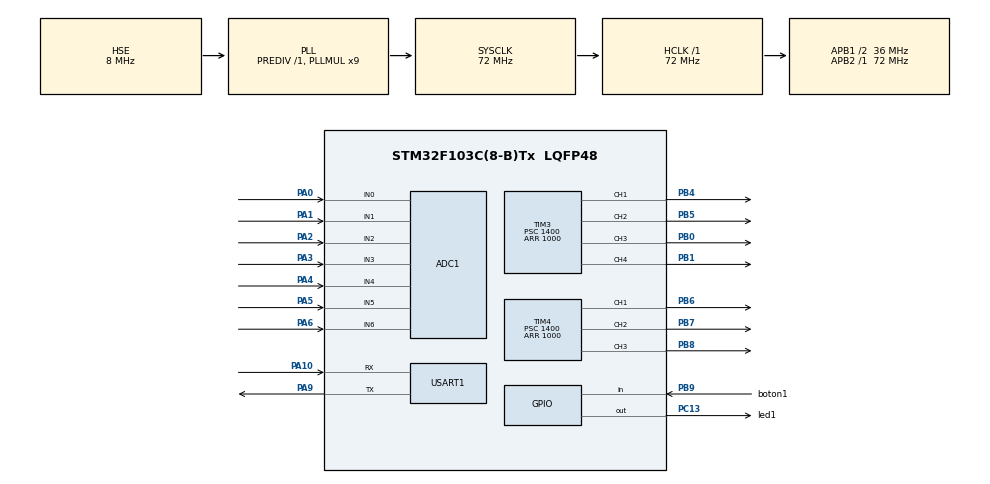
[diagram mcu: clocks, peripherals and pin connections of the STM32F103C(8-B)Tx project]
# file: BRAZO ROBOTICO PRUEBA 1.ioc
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ADC1.Channel-0\#ChannelRegularConversion=ADC_CHANNEL_0
ADC1.Channel-1\#ChannelRegularConversion=ADC_CHANNEL_1
ADC1.Channel-2\#ChannelRegularConversion=ADC_CHANNEL_2
ADC1.Channel-3\#ChannelRegularConversion=ADC_CHANNEL_3
ADC1.Channel-4\#ChannelRegularConversion=ADC_CHANNEL_4
ADC1.Channel-5\#ChannelRegularConversion=ADC_CHANNEL_5
ADC1.Channel-6\#ChannelRegularConversion=ADC_CHANNEL_6
ADC1.ContinuousConvMode=ENABLE
ADC1.NbrOfConversion=7
ADC1.NbrOfConversionFlag=1
ADC1.Rank-0\#ChannelRegularConversion=1
ADC1.Rank-1\#ChannelRegularConversion=2
ADC1.Rank-2\#ChannelRegularConversion=3
ADC1.Rank-3\#ChannelRegularConversion=4
ADC1.Rank-4\#ChannelRegularConversion=5
ADC1.Rank-5\#ChannelRegularConversion=6
ADC1.Rank-6\#ChannelRegularConversion=7
ADC1.SamplingTime-0\#ChannelRegularConversion=ADC_SAMPLETIME_1CYCLE_5
ADC1.SamplingTime-1\#ChannelRegularConversion=ADC_SAMPLETIME_1CYCLE_5
ADC1.SamplingTime-2\#ChannelRegularConversion=ADC_SAMPLETIME_1CYCLE_5
ADC1.SamplingTime-3\#ChannelRegularConversion=ADC_SAMPLETIME_1CYCLE_5
ADC1.SamplingTime-4\#ChannelRegularConversion=ADC_SAMPLETIME_1CYCLE_5
ADC1.SamplingTime-5\#ChannelRegularConversion=ADC_SAMPLETIME_1CYCLE_5
ADC1.SamplingTime-6\#ChannelRegularConversion=ADC_SAMPLETIME_1CYCLE_5
ADC1.master=1
Dma.ADC1.0.Direction=DMA_PERIPH_TO_MEMORY
Dma.ADC1.0.Instance=DMA1_Channel1
Dma.ADC1.0.MemDataAlignment=DMA_MDATAALIGN_HALFWORD
Dma.ADC1.0.MemInc=DMA_MINC_ENABLE
Dma.ADC1.0.Mode=DMA_CIRCULAR
Dma.ADC1.0.PeriphDataAlignment=DMA_PDATAALIGN_HALFWORD
Dma.ADC1.0.PeriphInc=DMA_PINC_DISABLE
Dma.ADC1.0.Priority=DMA_PRIORITY_LOW
Dma.Request0=ADC1
Mcu.Family=STM32F1
Mcu.Name=STM32F103C(8-B)Tx
Mcu.Package=LQFP48
NVIC.DMA1_Channel1_IRQn=true\:0\:0\:false\:false\:true\:false\:true
NVIC.PriorityGroup=NVIC_PRIORITYGROUP_4
PA0-WKUP.Signal=ADCx_IN0
PA1.Signal=ADCx_IN1
PA10.Mode=Asynchronous
PA10.Signal=USART1_RX
PA13.Mode=Serial_Wire
PA13.Signal=SYS_JTMS-SWDIO
PA14.Mode=Serial_Wire
PA14.Signal=SYS_JTCK-SWCLK
PA2.Signal=ADCx_IN2
PA3.Signal=ADCx_IN3
PA4.Signal=ADCx_IN4
PA5.Signal=ADCx_IN5
PA6.Signal=ADCx_IN6
PA9.Mode=Asynchronous
PA9.Signal=USART1_TX
PB0.Signal=S_TIM3_CH3
PB1.Signal=S_TIM3_CH4
PB4.Signal=S_TIM3_CH1
PB5.Signal=S_TIM3_CH2
PB6.Signal=S_TIM4_CH1
PB7.Signal=S_TIM4_CH2
PB8.Signal=S_TIM4_CH3
PB9.GPIO_Label=boton1
PB9.GPIO_Mode=GPIO_MODE_INPUT
PB9.GPIO_PuPd=GPIO_PULLUP
PB9.Signal=GPIO_Input
PC13-TAMPER-RTC.GPIO_Label=led1
PC13-TAMPER-RTC.Signal=GPIO_Output
PD0-OSC_IN.Mode=HSE-External-Oscillator
PD0-OSC_IN.Signal=RCC_OSC_IN
PD1-OSC_OUT.Mode=HSE-External-Oscillator
PD1-OSC_OUT.Signal=RCC_OSC_OUT
ProjectManager.HeapSize=0x200
ProjectManager.StackSize=0x400
ProjectManager.TargetToolchain=STM32CubeIDE
RCC.ADCPresc=RCC_ADCPCLK2_DIV6
RCC.AHBFreq_Value=72000000
RCC.APB1CLKDivider=RCC_HCLK_DIV2
RCC.APB1Freq_Value=36000000
RCC.APB1TimFreq_Value=72000000
RCC.APB2Freq_Value=72000000
RCC.APB2TimFreq_Value=72000000
RCC.HCLKFreq_Value=72000000
RCC.PLLMUL=RCC_PLL_MUL9
RCC.PLLSourceVirtual=RCC_PLLSOURCE_HSE
RCC.SYSCLKFreq_VALUE=72000000
RCC.SYSCLKSource=RCC_SYSCLKSOURCE_PLLCLK
RCC.USBFreq_Value=72000000
SH.ADCx_IN0.0=ADC1_IN0,IN0
SH.ADCx_IN1.0=ADC1_IN1,IN1
SH.ADCx_IN2.0=ADC1_IN2,IN2
SH.ADCx_IN3.0=ADC1_IN3,IN3
SH.ADCx_IN4.0=ADC1_IN4,IN4
SH.ADCx_IN5.0=ADC1_IN5,IN5
SH.ADCx_IN6.0=ADC1_IN6,IN6
SH.S_TIM3_CH1.0=TIM3_CH1,PWM Generation1 CH1
SH.S_TIM3_CH2.0=TIM3_CH2,PWM Generation2 CH2
SH.S_TIM3_CH3.0=TIM3_CH3,PWM Generation3 CH3
SH.S_TIM3_CH4.0=TIM3_CH4,PWM Generation4 CH4
SH.S_TIM4_CH1.0=TIM4_CH1,PWM Generation1 CH1
SH.S_TIM4_CH2.0=TIM4_CH2,PWM Generation2 CH2
SH.S_TIM4_CH3.0=TIM4_CH3,PWM Generation3 CH3
TIM3.Channel-PWM\ Generation1\ CH1=TIM_CHANNEL_1
TIM3.Channel-PWM\ Generation2\ CH2=TIM_CHANNEL_2
TIM3.Channel-PWM\ Generation3\ CH3=TIM_CHANNEL_3
TIM3.Channel-PWM\ Generation4\ CH4=TIM_CHANNEL_4
TIM3.Period=1000
TIM3.Prescaler=1400
TIM4.Channel-PWM\ Generation1\ CH1=TIM_CHANNEL_1
TIM4.Channel-PWM\ Generation2\ CH2=TIM_CHANNEL_2
TIM4.Channel-PWM\ Generation3\ CH3=TIM_CHANNEL_3
TIM4.Period=1000
TIM4.Prescaler=1400
USART1.VirtualMode=VM_ASYNC
VP_TIM3_VS_ClockSourceINT.Mode=Internal
VP_TIM4_VS_ClockSourceINT.Mode=Internal
board=custom

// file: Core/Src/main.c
/* USER CODE BEGIN Header */
/**
  ******************************************************************************
  * @file           : main.c
  * @brief          : Main program body
  ******************************************************************************
  * @attention
  *
  * <h2><center>&copy; Copyright (c) 2020 STMicroelectronics.
  * All rights reserved.</center></h2>
  *
  * This software component is licensed by ST under BSD 3-Clause license,
  * the "License"; You may not use this file except in compliance with the
  * License. You may obtain a copy of the License at:
  *                        opensource.org/licenses/BSD-3-Clause
  *
  ******************************************************************************
  */
/* USER CODE END Header */

#include "main.h"

/* USER CODE BEGIN Includes */
#include "stdio.h"
/* USER CODE END Includes */

ADC_HandleTypeDef hadc1;
DMA_HandleTypeDef hdma_adc1;

TIM_HandleTypeDef htim3;
TIM_HandleTypeDef htim4;

UART_HandleTypeDef huart1;

/* USER CODE BEGIN PV */
uint16_t adcSamples[7];
char adc1Buffer[20];
char adc2Buffer[20];
char adc3Buffer[20];
char adc4Buffer[20];
char adc5Buffer[20];
char adc6Buffer[20];
char adc7Buffer[20];
uint8_t stringSize[7];

uint8_t i=0;
uint16_t servos[7];
uint16_t tiempo=25;
uint16_t contServos=0;
uint8_t estado;
uint8_t contGrabar=0;

/* USER CODE END PV */

void SystemClock_Config(void);
static void MX_GPIO_Init(void);
static void MX_DMA_Init(void);
static void MX_ADC1_Init(void);
static void MX_USART1_UART_Init(void);
static void MX_TIM3_Init(void);
static void MX_TIM4_Init(void);
/* USER CODE BEGIN PFP */
//////////////////////// Function map/////////////////////////////////////////////////////////////
double map(float valor, float entradaMin, float entradaMax, float salidaMin, float salidaMax){
	   return ((((valor-entradaMin)*(salidaMax-salidaMin))/(entradaMax-entradaMin))+salidaMin);}
//////////////////// Function to move the SERVO1_BASE a desired position ////////////////////////////////
void control_base(uint8_t ang1, uint8_t ang2, uint8_t vel){
	 if(ang2 >= ang1){
	    for(uint8_t angulo = ang1; angulo < ang2; angulo++){
        __HAL_TIM_SET_COMPARE(&htim3,TIM_CHANNEL_1,angulo);
        HAL_Delay(vel);}}
	 else{
		for(uint8_t angulo = ang1; angulo > ang2; angulo--){
		__HAL_TIM_SET_COMPARE(&htim3,TIM_CHANNEL_1,angulo);
		HAL_Delay(vel);}}}
//////////////////// Function to move the SERVO1_WRIST a desired position ////////////////////////////////
void control_wrist(uint8_t ang1, uint8_t ang2, uint8_t vel){
	 if(ang2 >= ang1){
	    for(uint8_t angulo = ang1; angulo < ang2; angulo++){
        __HAL_TIM_SET_COMPARE(&htim4,TIM_CHANNEL_2,angulo);
        HAL_Delay(vel);}}
	 else{
		for(uint8_t angulo = ang1; angulo > ang2; angulo--){
		__HAL_TIM_SET_COMPARE(&htim4,TIM_CHANNEL_2,angulo);
		HAL_Delay(vel);}}}
//////////////////// Function to move the SERVO7_GRIPPER a desired position ////////////////////////////////
void control_gripper(uint8_t ang1, uint8_t ang2, uint8_t vel){
	 if(ang2 >= ang1){
	    for(uint8_t angulo = ang1; angulo < ang2; angulo++){
        __HAL_TIM_SET_COMPARE(&htim4,TIM_CHANNEL_3,angulo);
        HAL_Delay(vel);}}
	 else{
		for(uint8_t angulo = ang1; angulo > ang2; angulo--){
		__HAL_TIM_SET_COMPARE(&htim4,TIM_CHANNEL_3,angulo);
		HAL_Delay(vel);}}}
///////////////////FUNCION PARA MOVER LOS SERVOS/////////////////////////////////////////////
void todosServos(uint8_t ang1,uint8_t ang2, uint8_t ang3, uint8_t ang4,
		         uint8_t ang5,uint8_t ang6, uint8_t ang7, uint8_t tiempo){

	__HAL_TIM_SET_COMPARE(&htim3,TIM_CHANNEL_1,ang1);
	HAL_Delay(tiempo);
	__HAL_TIM_SET_COMPARE(&htim3,TIM_CHANNEL_2,ang2);
    HAL_Delay(tiempo);
    __HAL_TIM_SET_COMPARE(&htim3,TIM_CHANNEL_3,ang3);
    HAL_Delay(tiempo);
    __HAL_TIM_SET_COMPARE(&htim3,TIM_CHANNEL_4,ang4);
    HAL_Delay(tiempo);
    __HAL_TIM_SET_COMPARE(&htim4,TIM_CHANNEL_1,ang5);
    HAL_Delay(tiempo);
    __HAL_TIM_SET_COMPARE(&htim4,TIM_CHANNEL_2,ang6);
    HAL_Delay(tiempo);
    __HAL_TIM_SET_COMPARE(&htim4,TIM_CHANNEL_3,ang7);
    HAL_Delay(tiempo);}

//todosServos(56,85,77,79,81,82,58,tiempo);
//todosServos(66,95,87,89,91,92,68,tiempo);

/* USER CODE END PFP */

int main(void)
{

  /* MCU Configuration--------------------------------------------------------*/

  /* Reset of all peripherals, Initializes the Flash interface and the Systick. */
  HAL_Init();

  /* Configure the system clock */
  SystemClock_Config();

  /* Initialize all configured peripherals */
  MX_GPIO_Init();
  MX_DMA_Init();
  MX_ADC1_Init();
  MX_USART1_UART_Init();
  MX_TIM3_Init();
  MX_TIM4_Init();
  /* USER CODE BEGIN 2 */
  HAL_ADC_Start_DMA(&hadc1, (uint32_t *)adcSamples, 7);
  HAL_TIM_PWM_Start(&htim3, TIM_CHANNEL_1);//PB4 - base
  HAL_TIM_PWM_Start(&htim3, TIM_CHANNEL_2);//PB5 -
  HAL_TIM_PWM_Start(&htim3, TIM_CHANNEL_3);//PB0 -
  HAL_TIM_PWM_Start(&htim3, TIM_CHANNEL_4);//PB1 -

  HAL_TIM_PWM_Start(&htim4, TIM_CHANNEL_1);//PB6 -
  HAL_TIM_PWM_Start(&htim4, TIM_CHANNEL_2);//PB7 - wrist
  HAL_TIM_PWM_Start(&htim4, TIM_CHANNEL_3);//PB8 - gripper

  /* USER CODE END 2 */

  /* Infinite loop */
  /* USER CODE BEGIN WHILE */

  //Initial position
  /*
  __HAL_TIM_SET_COMPARE(&htim3,TIM_CHANNEL_1,58);//base
  __HAL_TIM_SET_COMPARE(&htim3,TIM_CHANNEL_2,84);
  __HAL_TIM_SET_COMPARE(&htim3,TIM_CHANNEL_3,76);
  __HAL_TIM_SET_COMPARE(&htim3,TIM_CHANNEL_4,78);
  __HAL_TIM_SET_COMPARE(&htim4,TIM_CHANNEL_1,80);
  __HAL_TIM_SET_COMPARE(&htim4,TIM_CHANNEL_2,91);//wrist
  __HAL_TIM_SET_COMPARE(&htim4,TIM_CHANNEL_3,50);//gripper

  HAL_Delay(2000);

  control_base(58, 88, 20);
  HAL_Delay(400);
  control_wrist(91, 115, 10);
  HAL_Delay(400);
  control_gripper(50, 83, 15);
  HAL_Delay(400);
  control_gripper(83, 50, 15);
  HAL_Delay(400);
  control_wrist(115, 44, 10);
  HAL_Delay(400);
  control_wrist(44, 91, 10);*/

  /////////////////////////////////////////////////

  //while(1);

  while (1)
  {

	  servos[0] = map(adcSamples[0], 0, 4095, 44, 115);                        //mapeo la lectura del pot1
	  __HAL_TIM_SET_COMPARE(&htim3,TIM_CHANNEL_1,servos[0]); 				    //escribo los grados del servo 0-180
	  stringSize[0] = sprintf(adc1Buffer,"todosServos(%u,",servos[0]);			//convierto a cadena para mandar al UART

	  servos[1] = map(adcSamples[1], 0, 4095, 115, 44);                        //mapeo la lectura del pot1
	  __HAL_TIM_SET_COMPARE(&htim3,TIM_CHANNEL_2,servos[1]); 				    //escribo los grados del servo 0-180
	  stringSize[1] = sprintf(adc2Buffer,"%u,",servos[1]);			//convierto a cadena para mandar al UART

  	  servos[2] = map(adcSamples[2], 0, 4095, 115, 44);                        //mapeo la lectura del pot1
  	  __HAL_TIM_SET_COMPARE(&htim3,TIM_CHANNEL_3,servos[2]); 				    //escribo los grados del servo 0-180
  	  stringSize[2] = sprintf(adc3Buffer,"%u,",servos[2]);			//convierto a cadena para mandar al UART

  	  servos[3] = map(adcSamples[3], 0, 4095, 115, 44);                        //mapeo la lectura del pot1
  	  __HAL_TIM_SET_COMPARE(&htim3,TIM_CHANNEL_4,servos[3]); 				    //escribo los grados del servo 0-180
  	  stringSize[3] = sprintf(adc4Buffer,"%u,",servos[3]);			//convierto a cadena para mandar al UART

  	  servos[4] = map(adcSamples[4], 0, 4095, 115, 44);                        //mapeo la lectura del pot1
  	  __HAL_TIM_SET_COMPARE(&htim4,TIM_CHANNEL_1,servos[4]); 				    //escribo los grados del servo 0-180
  	  stringSize[4] = sprintf(adc5Buffer,"%u,",servos[4]);			//convierto a cadena para mandar al UART

  	  servos[5] = map(adcSamples[5], 0, 4095, 115, 44);                        //mapeo la lectura del pot1
  	  __HAL_TIM_SET_COMPARE(&htim4,TIM_CHANNEL_2,servos[5]); 				    //escribo los grados del servo 0-180
  	  stringSize[5] = sprintf(adc6Buffer,"%u,",servos[5]);			//convierto a cadena para mandar al UART

  	  servos[6] = map(adcSamples[6], 0, 4095, 58, 84);                        //mapeo la lectura del pot1
  	  __HAL_TIM_SET_COMPARE(&htim4,TIM_CHANNEL_3,servos[6]); 				    //escribo los grados del servo 0-180
  	  stringSize[6] = sprintf(adc7Buffer,"%u,tiempo);\r\n",servos[6]);			//convierto a cadena para mandar al UART

      HAL_Delay(10);

  	  contServos++;

  	  if(contServos==10){
  		HAL_UART_Transmit(&huart1, (uint8_t *)adc1Buffer, stringSize[0], 100);    	//mando al puerto serial
  	  	HAL_UART_Transmit(&huart1, (uint8_t *)adc2Buffer, stringSize[1], 100);    	//mando al puerto serial
  	  	HAL_UART_Transmit(&huart1, (uint8_t *)adc3Buffer, stringSize[2], 100);    	//mando al puerto serial
  	  	HAL_UART_Transmit(&huart1, (uint8_t *)adc4Buffer, stringSize[3], 100);    	//mando al puerto serial
  	  	HAL_UART_Transmit(&huart1, (uint8_t *)adc5Buffer, stringSize[4], 100);    	//mando al puerto serial
  	    HAL_UART_Transmit(&huart1, (uint8_t *)adc6Buffer, stringSize[5], 100);    	//mando al puerto serial
  	    HAL_UART_Transmit(&huart1, (uint8_t *)adc7Buffer, stringSize[6], 100);    	//mando al puerto serial
        contServos=0;}

  	  /*
  	  estado = HAL_GPIO_ReadPin(boton1_GPIO_Port, boton1_Pin);
  	  if(estado==0){
  		  HAL_Delay(180);
  		  contGrabar=1;}

  	  if(contGrabar==1){
  		HAL_UART_Transmit(&huart1, (uint8_t *)adc1Buffer, stringSize[0], 100);    	//mando al puerto serial
  	  	HAL_UART_Transmit(&huart1, (uint8_t *)adc2Buffer, stringSize[1], 100);    	//mando al puerto serial
  	  	HAL_UART_Transmit(&huart1, (uint8_t *)adc3Buffer, stringSize[2], 100);    	//mando al puerto serial
  	  	HAL_UART_Transmit(&huart1, (uint8_t *)adc4Buffer, stringSize[3], 100);    	//mando al puerto serial
  	  	HAL_UART_Transmit(&huart1, (uint8_t *)adc5Buffer, stringSize[4], 100);    	//mando al puerto serial
  	    HAL_UART_Transmit(&huart1, (uint8_t *)adc6Buffer, stringSize[5], 100);    	//mando al puerto serial
  	    HAL_UART_Transmit(&huart1, (uint8_t *)adc7Buffer, stringSize[6], 100);    	//mando al puerto serial
  	    contGrabar=0;}*/

	  /*for(i=0;i<7;i++){
		  servos[i] = map(adcSamples[i], 0, 4095, 44, 115);
		  __HAL_TIM_SET_COMPARE(&htim3,TIM_CHANNEL_2,servos[i]);
		  stringSize[i] = sprintf(adc1Buffer,"ADC%u : %u  ",i,servos[i]);
		  HAL_UART_Transmit(&huart1, (uint8_t *)adc1Buffer, stringSize[i], 100);
		  if(i==6){
			  stringSize[i] = sprintf(adc1Buffer,"servo= %u\r\n",servos[i]);
			  HAL_UART_Transmit(&huart1, (uint8_t *)adc1Buffer, stringSize[i], 100);}}*/

    /* USER CODE END WHILE */

  }
}

void SystemClock_Config(void)
{
  RCC_OscInitTypeDef RCC_OscInitStruct = {0};
  RCC_ClkInitTypeDef RCC_ClkInitStruct = {0};
  RCC_PeriphCLKInitTypeDef PeriphClkInit = {0};

  /** Initializes the CPU, AHB and APB busses clocks
  */
  RCC_OscInitStruct.OscillatorType = RCC_OSCILLATORTYPE_HSE;
  RCC_OscInitStruct.HSEState = RCC_HSE_ON;
  RCC_OscInitStruct.HSEPredivValue = RCC_HSE_PREDIV_DIV1;
  RCC_OscInitStruct.HSIState = RCC_HSI_ON;
  RCC_OscInitStruct.PLL.PLLState = RCC_PLL_ON;
  RCC_OscInitStruct.PLL.PLLSource = RCC_PLLSOURCE_HSE;
  RCC_OscInitStruct.PLL.PLLMUL = RCC_PLL_MUL9;
  if (HAL_RCC_OscConfig(&RCC_OscInitStruct) != HAL_OK)
  {
    Error_Handler();
  }
  /** Initializes the CPU, AHB and APB busses clocks
  */
  RCC_ClkInitStruct.ClockType = RCC_CLOCKTYPE_HCLK|RCC_CLOCKTYPE_SYSCLK
                              |RCC_CLOCKTYPE_PCLK1|RCC_CLOCKTYPE_PCLK2;
  RCC_ClkInitStruct.SYSCLKSource = RCC_SYSCLKSOURCE_PLLCLK;
  RCC_ClkInitStruct.AHBCLKDivider = RCC_SYSCLK_DIV1;
  RCC_ClkInitStruct.APB1CLKDivider = RCC_HCLK_DIV2;
  RCC_ClkInitStruct.APB2CLKDivider = RCC_HCLK_DIV1;

  if (HAL_RCC_ClockConfig(&RCC_ClkInitStruct, FLASH_LATENCY_2) != HAL_OK)
  {
    Error_Handler();
  }
  PeriphClkInit.PeriphClockSelection = RCC_PERIPHCLK_ADC;
  PeriphClkInit.AdcClockSelection = RCC_ADCPCLK2_DIV6;
  if (HAL_RCCEx_PeriphCLKConfig(&PeriphClkInit) != HAL_OK)
  {
    Error_Handler();
  }
}

static void MX_ADC1_Init(void)
{

  ADC_ChannelConfTypeDef sConfig = {0};

  /** Common config
  */
  hadc1.Instance = ADC1;
  hadc1.Init.ScanConvMode = ADC_SCAN_ENABLE;
  hadc1.Init.ContinuousConvMode = ENABLE;
  hadc1.Init.DiscontinuousConvMode = DISABLE;
  hadc1.Init.ExternalTrigConv = ADC_SOFTWARE_START;
  hadc1.Init.DataAlign = ADC_DATAALIGN_RIGHT;
  hadc1.Init.NbrOfConversion = 7;
  if (HAL_ADC_Init(&hadc1) != HAL_OK)
  {
    Error_Handler();
  }
  /** Configure Regular Channel
  */
  sConfig.Channel = ADC_CHANNEL_0;
  sConfig.Rank = ADC_REGULAR_RANK_1;
  sConfig.SamplingTime = ADC_SAMPLETIME_1CYCLE_5;
  if (HAL_ADC_ConfigChannel(&hadc1, &sConfig) != HAL_OK)
  {
    Error_Handler();
  }
  /** Configure Regular Channel
  */
  sConfig.Channel = ADC_CHANNEL_1;
  sConfig.Rank = ADC_REGULAR_RANK_2;
  if (HAL_ADC_ConfigChannel(&hadc1, &sConfig) != HAL_OK)
  {
    Error_Handler();
  }
  /** Configure Regular Channel
  */
  sConfig.Channel = ADC_CHANNEL_2;
  sConfig.Rank = ADC_REGULAR_RANK_3;
  if (HAL_ADC_ConfigChannel(&hadc1, &sConfig) != HAL_OK)
  {
    Error_Handler();
  }
  /** Configure Regular Channel
  */
  sConfig.Channel = ADC_CHANNEL_3;
  sConfig.Rank = ADC_REGULAR_RANK_4;
  if (HAL_ADC_ConfigChannel(&hadc1, &sConfig) != HAL_OK)
  {
    Error_Handler();
  }
  /** Configure Regular Channel
  */
  sConfig.Channel = ADC_CHANNEL_4;
  sConfig.Rank = ADC_REGULAR_RANK_5;
  if (HAL_ADC_ConfigChannel(&hadc1, &sConfig) != HAL_OK)
  {
    Error_Handler();
  }
  /** Configure Regular Channel
  */
  sConfig.Channel = ADC_CHANNEL_5;
  sConfig.Rank = ADC_REGULAR_RANK_6;
  if (HAL_ADC_ConfigChannel(&hadc1, &sConfig) != HAL_OK)
  {
    Error_Handler();
  }
  /** Configure Regular Channel
  */
  sConfig.Channel = ADC_CHANNEL_6;
  sConfig.Rank = ADC_REGULAR_RANK_7;
  if (HAL_ADC_ConfigChannel(&hadc1, &sConfig) != HAL_OK)
  {
    Error_Handler();
  }

}

static void MX_TIM3_Init(void)
{

  TIM_ClockConfigTypeDef sClockSourceConfig = {0};
  TIM_MasterConfigTypeDef sMasterConfig = {0};
  TIM_OC_InitTypeDef sConfigOC = {0};

  htim3.Instance = TIM3;
  htim3.Init.Prescaler = 1400;
  htim3.Init.CounterMode = TIM_COUNTERMODE_UP;
  htim3.Init.Period = 1000;
  htim3.Init.ClockDivision = TIM_CLOCKDIVISION_DIV1;
  htim3.Init.AutoReloadPreload = TIM_AUTORELOAD_PRELOAD_DISABLE;
  if (HAL_TIM_Base_Init(&htim3) != HAL_OK)
  {
    Error_Handler();
  }
  sClockSourceConfig.ClockSource = TIM_CLOCKSOURCE_INTERNAL;
  if (HAL_TIM_ConfigClockSource(&htim3, &sClockSourceConfig) != HAL_OK)
  {
    Error_Handler();
  }
  if (HAL_TIM_PWM_Init(&htim3) != HAL_OK)
  {
    Error_Handler();
  }
  sMasterConfig.MasterOutputTrigger = TIM_TRGO_RESET;
  sMasterConfig.MasterSlaveMode = TIM_MASTERSLAVEMODE_DISABLE;
  if (HAL_TIMEx_MasterConfigSynchronization(&htim3, &sMasterConfig) != HAL_OK)
  {
    Error_Handler();
  }
  sConfigOC.OCMode = TIM_OCMODE_PWM1;
  sConfigOC.Pulse = 0;
  sConfigOC.OCPolarity = TIM_OCPOLARITY_HIGH;
  sConfigOC.OCFastMode = TIM_OCFAST_DISABLE;
  if (HAL_TIM_PWM_ConfigChannel(&htim3, &sConfigOC, TIM_CHANNEL_1) != HAL_OK)
  {
    Error_Handler();
  }
  if (HAL_TIM_PWM_ConfigChannel(&htim3, &sConfigOC, TIM_CHANNEL_2) != HAL_OK)
  {
    Error_Handler();
  }
  if (HAL_TIM_PWM_ConfigChannel(&htim3, &sConfigOC, TIM_CHANNEL_3) != HAL_OK)
  {
    Error_Handler();
  }
  if (HAL_TIM_PWM_ConfigChannel(&htim3, &sConfigOC, TIM_CHANNEL_4) != HAL_OK)
  {
    Error_Handler();
  }
  HAL_TIM_MspPostInit(&htim3);

}

static void MX_TIM4_Init(void)
{

  TIM_ClockConfigTypeDef sClockSourceConfig = {0};
  TIM_MasterConfigTypeDef sMasterConfig = {0};
  TIM_OC_InitTypeDef sConfigOC = {0};

  htim4.Instance = TIM4;
  htim4.Init.Prescaler = 1400;
  htim4.Init.CounterMode = TIM_COUNTERMODE_UP;
  htim4.Init.Period = 1000;
  htim4.Init.ClockDivision = TIM_CLOCKDIVISION_DIV1;
  htim4.Init.AutoReloadPreload = TIM_AUTORELOAD_PRELOAD_DISABLE;
  if (HAL_TIM_Base_Init(&htim4) != HAL_OK)
  {
    Error_Handler();
  }
  sClockSourceConfig.ClockSource = TIM_CLOCKSOURCE_INTERNAL;
  if (HAL_TIM_ConfigClockSource(&htim4, &sClockSourceConfig) != HAL_OK)
  {
    Error_Handler();
  }
  if (HAL_TIM_PWM_Init(&htim4) != HAL_OK)
  {
    Error_Handler();
  }
  sMasterConfig.MasterOutputTrigger = TIM_TRGO_RESET;
  sMasterConfig.MasterSlaveMode = TIM_MASTERSLAVEMODE_DISABLE;
  if (HAL_TIMEx_MasterConfigSynchronization(&htim4, &sMasterConfig) != HAL_OK)
  {
    Error_Handler();
  }
  sConfigOC.OCMode = TIM_OCMODE_PWM1;
  sConfigOC.Pulse = 0;
  sConfigOC.OCPolarity = TIM_OCPOLARITY_HIGH;
  sConfigOC.OCFastMode = TIM_OCFAST_DISABLE;
  if (HAL_TIM_PWM_ConfigChannel(&htim4, &sConfigOC, TIM_CHANNEL_1) != HAL_OK)
  {
    Error_Handler();
  }
  if (HAL_TIM_PWM_ConfigChannel(&htim4, &sConfigOC, TIM_CHANNEL_2) != HAL_OK)
  {
    Error_Handler();
  }
  if (HAL_TIM_PWM_ConfigChannel(&htim4, &sConfigOC, TIM_CHANNEL_3) != HAL_OK)
  {
    Error_Handler();
  }
  HAL_TIM_MspPostInit(&htim4);

}

static void MX_USART1_UART_Init(void)
{

  huart1.Instance = USART1;
  huart1.Init.BaudRate = 115200;
  huart1.Init.WordLength = UART_WORDLENGTH_8B;
  huart1.Init.StopBits = UART_STOPBITS_1;
  huart1.Init.Parity = UART_PARITY_NONE;
  huart1.Init.Mode = UART_MODE_TX_RX;
  huart1.Init.HwFlowCtl = UART_HWCONTROL_NONE;
  huart1.Init.OverSampling = UART_OVERSAMPLING_16;
  if (HAL_UART_Init(&huart1) != HAL_OK)
  {
    Error_Handler();
  }

}

static void MX_DMA_Init(void)
{

  /* DMA controller clock enable */
  __HAL_RCC_DMA1_CLK_ENABLE();

  /* DMA interrupt init */
  /* DMA1_Channel1_IRQn interrupt configuration */
  HAL_NVIC_SetPriority(DMA1_Channel1_IRQn, 0, 0);
  HAL_NVIC_EnableIRQ(DMA1_Channel1_IRQn);

}

static void MX_GPIO_Init(void)
{
  GPIO_InitTypeDef GPIO_InitStruct = {0};

  /* GPIO Ports Clock Enable */
  __HAL_RCC_GPIOC_CLK_ENABLE();
  __HAL_RCC_GPIOD_CLK_ENABLE();
  __HAL_RCC_GPIOA_CLK_ENABLE();
  __HAL_RCC_GPIOB_CLK_ENABLE();

  /*Configure GPIO pin Output Level */
  HAL_GPIO_WritePin(led1_GPIO_Port, led1_Pin, GPIO_PIN_RESET);

  /*Configure GPIO pin : led1_Pin */
  GPIO_InitStruct.Pin = led1_Pin;
  GPIO_InitStruct.Mode = GPIO_MODE_OUTPUT_PP;
  GPIO_InitStruct.Pull = GPIO_NOPULL;
  GPIO_InitStruct.Speed = GPIO_SPEED_FREQ_LOW;
  HAL_GPIO_Init(led1_GPIO_Port, &GPIO_InitStruct);

  /*Configure GPIO pin : boton1_Pin */
  GPIO_InitStruct.Pin = boton1_Pin;
  GPIO_InitStruct.Mode = GPIO_MODE_INPUT;
  GPIO_InitStruct.Pull = GPIO_PULLUP;
  HAL_GPIO_Init(boton1_GPIO_Port, &GPIO_InitStruct);

}

void Error_Handler(void)
{
}

/************************ (C) COPYRIGHT STMicroelectronics *****END OF FILE****/
